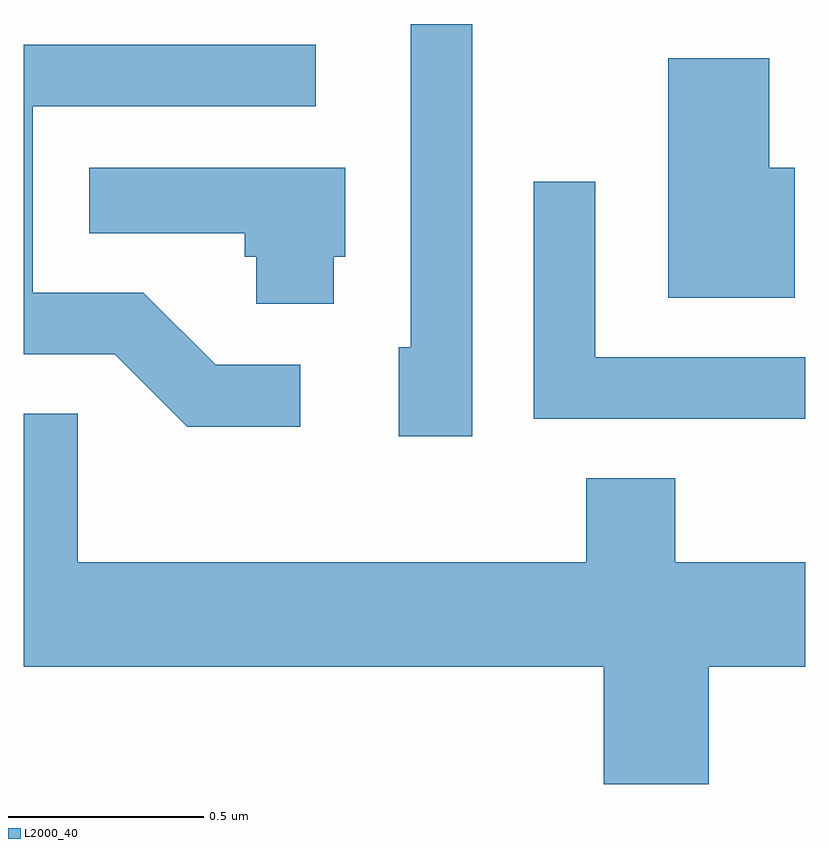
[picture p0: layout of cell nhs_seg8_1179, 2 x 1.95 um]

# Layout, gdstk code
import gdstk
lib = gdstk.Library(unit=1e-6, precision=1e-09)
def P(c, l, *ps):  # polygons
    for p in ps: c.add(gdstk.Polygon(p, *l))
L2000_40 = (2000, 40)

nhs_seg8_1179 = lib.new_cell('nhs_seg8_1179')
P(nhs_seg8_1179, L2000_40, [(194.759,1891.342),(194.601,1891.342),(194.601,1890.514),(194.571,1890.514),(194.571,1890.286),(194.759,1890.286)],
  [(194.318,1890.469),(194.102,1890.469),(193.917,1890.654),(193.634,1890.654),(193.634,1891.131),(194.358,1891.131),(194.358,1891.289),(193.611,1891.289),(193.611,1890.496),(193.844,1890.496),(194.029,1890.311),(194.318,1890.311)],
  [(195.584,1890.974),(195.519,1890.974),(195.519,1891.254),(195.261,1891.254),(195.261,1890.641),(195.584,1890.641)],
  [(194.404,1890.746),(194.434,1890.746),(194.434,1890.974),(193.778,1890.974),(193.778,1890.806),(194.176,1890.806),(194.176,1890.746),(194.206,1890.746),(194.206,1890.626),(194.404,1890.626)],
  [(195.611,1890.489),(195.074,1890.489),(195.074,1890.938),(194.916,1890.938),(194.916,1890.331),(195.611,1890.331)],
  [(195.364,1889.696),(195.611,1889.696),(195.611,1889.964),(195.279,1889.964),(195.279,1890.179),(195.051,1890.179),(195.051,1889.964),(193.749,1889.964),(193.749,1890.344),(193.611,1890.344),(193.611,1889.696),(195.096,1889.696),(195.096,1889.396),(195.364,1889.396)])

lib.write_gds('nhs_seg8_1179.gds')
